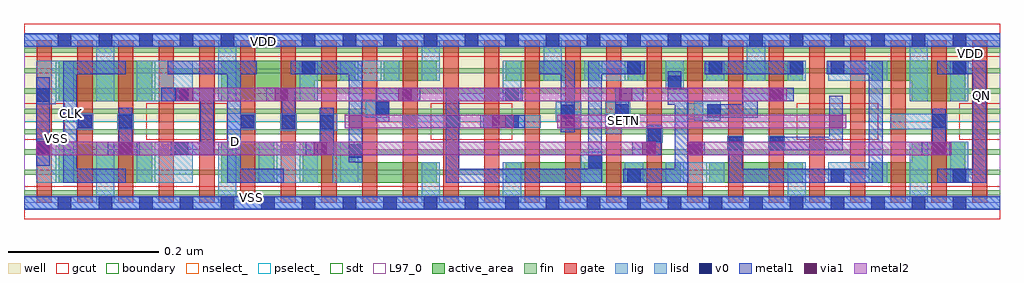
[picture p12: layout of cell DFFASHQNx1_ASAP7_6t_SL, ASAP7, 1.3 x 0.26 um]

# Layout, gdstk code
import gdstk
lib = gdstk.Library(unit=1e-6, precision=2.5e-10)
def R(c, l, rs):  # rectangles x0, y0, x1, y1
    for r in rs: c.add(gdstk.rectangle(r[:2], r[2:], *l))
def A(c, l, x, y, w, h, nx, ny, dx, dy):  # array of equal rectangles
    R(c, l, [(x+i*dx, y+j*dy, x+i*dx+w, y+j*dy+h) for i in range(nx) for j in range(ny)])
def P(c, l, *ps):  # polygons
    for p in ps: c.add(gdstk.Polygon(p, *l))
well = (1, 0)
fin = (2, 0)
gate = (7, 0)
gcut = (10, 0)
active_area = (11, 0)
nselect_ = (12, 0)
pselect_ = (13, 0)
lig = (16, 0)
lisd = (17, 0)
v0 = (18, 0)
metal1 = (19, 0)
metal2 = (20, 0)
via1 = (21, 0)
sdt = (88, 0)
L97_0 = (97, 0)
boundary = (100, 0)

dffashqnx1_asap7_6t_sl = lib.new_cell('DFFASHQNx1_ASAP7_6t_SL')
R(dffashqnx1_asap7_6t_sl, well, [(0,0.108,1.296,0.216)])
A(dffashqnx1_asap7_6t_sl, fin, 0, 0.01, 1.296, 0.007, 1, 8, 0, 0.027)
A(dffashqnx1_asap7_6t_sl, gate, 0.017, 0, 0.02, 0.216, 24, 1, 0.054, 0)
R(dffashqnx1_asap7_6t_sl, gcut, [(0,-0.022,1.296,0.022), (0,0.084,0.054,0.132), (0.162,0.084,0.27,0.132), (0.54,0.084,0.648,0.132), (1.026,0.084,1.134,0.132), (1.242,0.084,1.296,0.132), (0,0.194,1.296,0.238)])
R(dffashqnx1_asap7_6t_sl, active_area, [(0.046,0.027,0.17,0.081), (0.262,0.027,0.332,0.081), (0.64,0.027,0.872,0.054), (0.91,0.027,1.034,0.054), (0.046,0.135,0.17,0.189), (0.478,0.162,0.548,0.189), (0.64,0.162,0.764,0.189), (0.802,0.162,1.034,0.189)])
P(dffashqnx1_asap7_6t_sl, active_area, [(1.25,0.081),(1.179,0.081),(1.179,0.054),(1.126,0.054),(1.126,0.027),(1.25,0.027)],
  [(1.25,0.189),(1.126,0.189),(1.126,0.162),(1.179,0.162),(1.179,0.135),(1.25,0.135)],
  [(0.548,0.054),(0.44,0.054),(0.44,0.081),(0.37,0.081),(0.37,0.027),(0.548,0.027)],
  [(0.44,0.189),(0.262,0.189),(0.262,0.135),(0.386,0.135),(0.386,0.162),(0.44,0.162)])
R(dffashqnx1_asap7_6t_sl, nselect_, [(0,0,1.296,0.108)])
R(dffashqnx1_asap7_6t_sl, pselect_, [(0,0.108,1.296,0.216)])
R(dffashqnx1_asap7_6t_sl, lig, [(0,-0.008,1.296,0.008), (0.934,0.069,0.956,0.089), (0.988,0.069,1.01,0.089), (0.826,0.08,0.848,0.102), (0.772,0.092,0.794,0.118), (0.34,0.096,0.362,0.118), (0.393,0.096,0.416,0.118), (0.07,0.097,0.092,0.119), (0.27,0.097,0.308,0.119), (0.124,0.098,0.146,0.118), (0.718,0.098,0.74,0.121), (1.15,0.098,1.226,0.118), (0.502,0.1,0.579,0.116), (0.61,0.1,0.686,0.116), (0.88,0.111,0.902,0.132), (0.448,0.114,0.47,0.137), (0,0.208,1.296,0.224)])
A(dffashqnx1_asap7_6t_sl, lisd, 0.42, 0.162, 0.078, 0.027, 3, 1, 0.324, 0)
R(dffashqnx1_asap7_6t_sl, lisd, [(0.096,0,0.12,0.081), (0.258,0,0.282,0.081), (0.528,0,0.552,0.054), (0.636,0,0.66,0.054), (1.014,0,1.038,0.054), (1.176,0,1.2,0.081), (0.15,0.027,0.224,0.081), (0.312,0.027,0.39,0.081), (0.41,0.027,0.449,0.081), (0.739,0.027,0.768,0.068), (0.798,0.027,0.822,0.054), (0.852,0.027,0.93,0.054), (1.068,0.027,1.146,0.054), (1.23,0.027,1.254,0.081), (0.706,0.108,0.74,0.134), (0.772,0.108,0.805,0.134), (0.89,0.109,0.925,0.135), (0.454,0.113,0.485,0.137), (0.096,0.135,0.12,0.216), (0.15,0.135,0.224,0.189), (0.258,0.135,0.282,0.216), (0.366,0.135,0.39,0.189), (0.636,0.135,0.66,0.189), (1.176,0.135,1.2,0.216), (1.23,0.135,1.254,0.189), (0.852,0.151,0.876,0.189), (0.528,0.162,0.552,0.216), (0.69,0.162,0.714,0.216), (0.906,0.162,0.93,0.189), (0.96,0.162,0.984,0.216), (1.014,0.162,1.038,0.189)])
P(dffashqnx1_asap7_6t_sl, lisd, [(0.066,0.189),(0.016,0.189),(0.016,0.131),(0.042,0.131),(0.042,0.135),(0.066,0.135)],
  [(0.066,0.081),(0.042,0.081),(0.042,0.085),(0.016,0.085),(0.016,0.027),(0.066,0.027)])
A(dffashqnx1_asap7_6t_sl, v0, 0.045, -0.009, 0.018, 0.018, 23, 2, 0.054, 0.216)
A(dffashqnx1_asap7_6t_sl, v0, 0.801, 0.171, 0.018, 0.018, 3, 1, 0.108, 0)
R(dffashqnx1_asap7_6t_sl, v0, [(0.801,0.027,0.819,0.045), (1.071,0.027,1.089,0.045), (1.233,0.027,1.251,0.045), (0.749,0.045,0.767,0.063), (0.431,0.06,0.449,0.078), (0.2,0.063,0.218,0.081), (0.016,0.064,0.034,0.082), (0.936,0.07,0.954,0.088), (0.99,0.07,1.008,0.088), (0.828,0.081,0.846,0.099), (0.342,0.098,0.36,0.116), (0.393,0.098,0.411,0.116), (0.072,0.099,0.09,0.117), (0.126,0.099,0.144,0.117), (0.288,0.099,0.306,0.117), (0.56,0.099,0.578,0.117), (0.639,0.099,0.657,0.117), (1.206,0.1,1.224,0.118), (0.713,0.112,0.731,0.13), (0.785,0.113,0.803,0.131), (0.907,0.113,0.925,0.131), (0.467,0.116,0.485,0.134), (0.016,0.134,0.034,0.152), (0.2,0.135,0.218,0.153), (0.639,0.135,0.657,0.153), (0.855,0.151,0.873,0.169), (0.369,0.171,0.387,0.189), (1.071,0.171,1.089,0.189), (1.233,0.171,1.251,0.189)])
R(dffashqnx1_asap7_6t_sl, metal1, [(0,-0.009,1.296,0.009), (0.016,0.049,0.034,0.167), (0.606,0.099,0.665,0.117), (0.904,0.171,1.035,0.189), (0,0.207,1.296,0.225)])
P(dffashqnx1_asap7_6t_sl, metal1, [(1.278,0.189),(1.213,0.189),(1.213,0.171),(1.26,0.171),(1.26,0.045),(1.213,0.045),(1.213,0.027),(1.278,0.027)],
  [(1.229,0.081),(1.224,0.081),(1.224,0.125),(1.206,0.125),(1.206,0.081),(1.192,0.081),(1.192,0.063),(1.229,0.063)],
  [(1.14,0.189),(1.066,0.189),(1.066,0.171),(1.122,0.171),(1.122,0.045),(0.954,0.045),(0.954,0.088),(0.936,0.088),(0.936,0.027),(1.14,0.027)],
  [(1.087,0.142),(1.069,0.142),(1.069,0.088),(0.99,0.088),(0.99,0.07),(1.087,0.07)],
  [(1.022,0.153),(0.954,0.153),(0.954,0.131),(0.907,0.131),(0.907,0.113),(0.974,0.113),(0.974,0.135),(1.022,0.135)],
  [(0.904,0.081),(0.882,0.081),(0.882,0.151),(0.873,0.151),(0.873,0.175),(0.855,0.175),(0.855,0.13),(0.864,0.13),(0.864,0.045),(0.796,0.045),(0.796,0.027),(0.882,0.027),(0.882,0.063),(0.904,0.063)],
  [(0.846,0.104),(0.828,0.104),(0.828,0.081),(0.808,0.081),(0.808,0.063),(0.846,0.063)],
  [(0.824,0.189),(0.749,0.189),(0.749,0.045),(0.578,0.045),(0.578,0.135),(0.662,0.135),(0.662,0.153),(0.56,0.153),(0.56,0.027),(0.767,0.027),(0.767,0.171),(0.824,0.171)],
  [(0.822,0.153),(0.785,0.153),(0.785,0.108),(0.803,0.108),(0.803,0.135),(0.822,0.135)],
  [(0.731,0.189),(0.684,0.189),(0.684,0.171),(0.713,0.171),(0.713,0.094),(0.731,0.094)],
  [(0.526,0.153),(0.467,0.153),(0.467,0.108),(0.485,0.108),(0.485,0.135),(0.526,0.135)],
  [(0.449,0.189),(0.354,0.189),(0.354,0.171),(0.431,0.171),(0.431,0.054),(0.449,0.054)],
  [(0.411,0.126),(0.393,0.126),(0.393,0.081),(0.374,0.081),(0.374,0.063),(0.411,0.063)],
  [(0.36,0.153),(0.322,0.153),(0.322,0.135),(0.342,0.135),(0.342,0.098),(0.36,0.098)],
  [(0.345,0.045),(0.288,0.045),(0.288,0.099),(0.306,0.099),(0.306,0.117),(0.288,0.117),(0.288,0.171),(0.309,0.171),(0.309,0.189),(0.191,0.189),(0.191,0.171),(0.27,0.171),(0.27,0.027),(0.345,0.027)],
  [(0.252,0.153),(0.182,0.153),(0.182,0.135),(0.234,0.135),(0.234,0.081),(0.195,0.081),(0.195,0.063),(0.252,0.063)],
  [(0.154,0.081),(0.144,0.081),(0.144,0.126),(0.126,0.126),(0.126,0.081),(0.111,0.081),(0.111,0.063),(0.154,0.063)],
  [(0.135,0.045),(0.07,0.045),(0.07,0.099),(0.09,0.099),(0.09,0.117),(0.07,0.117),(0.07,0.171),(0.135,0.171),(0.135,0.189),(0.052,0.189),(0.052,0.027),(0.135,0.027)])
R(dffashqnx1_asap7_6t_sl, metal2, [(0.016,0.063,0.839,0.081), (0.882,0.063,1.231,0.081), (0.426,0.099,0.65,0.117), (0.708,0.099,1.092,0.117), (0.202,0.135,1.013,0.153)])
R(dffashqnx1_asap7_6t_sl, via1, [(0.016,0.063,0.034,0.081), (0.126,0.063,0.144,0.081), (0.385,0.063,0.403,0.081), (0.821,0.063,0.839,0.081), (0.882,0.063,0.9,0.081), (1.206,0.063,1.224,0.081), (0.431,0.099,0.449,0.117), (0.622,0.099,0.64,0.117), (0.713,0.099,0.731,0.117), (1.069,0.099,1.087,0.117), (0.207,0.135,0.225,0.153), (0.333,0.135,0.351,0.153), (0.497,0.135,0.515,0.153), (0.79,0.135,0.808,0.153), (0.99,0.135,1.008,0.153)])
A(dffashqnx1_asap7_6t_sl, sdt, 0.042, 0.027, 0.024, 0.054, 3, 2, 0.054, 0.108)
A(dffashqnx1_asap7_6t_sl, sdt, 0.258, 0.027, 0.024, 0.054, 4, 1, 0.054, 0)
A(dffashqnx1_asap7_6t_sl, sdt, 0.528, 0.027, 0.024, 0.027, 3, 1, 0.108, 0)
A(dffashqnx1_asap7_6t_sl, sdt, 0.798, 0.027, 0.024, 0.027, 3, 1, 0.054, 0)
A(dffashqnx1_asap7_6t_sl, sdt, 0.42, 0.162, 0.024, 0.027, 3, 1, 0.054, 0)
A(dffashqnx1_asap7_6t_sl, sdt, 0.636, 0.162, 0.024, 0.027, 8, 1, 0.054, 0)
R(dffashqnx1_asap7_6t_sl, sdt, [(1.014,0.027,1.038,0.054), (1.122,0.027,1.146,0.054), (1.176,0.027,1.2,0.081), (1.23,0.027,1.254,0.081), (0.258,0.135,0.282,0.189), (0.366,0.135,0.39,0.189), (1.176,0.135,1.2,0.189), (1.23,0.135,1.254,0.189), (1.122,0.162,1.146,0.189)])
R(dffashqnx1_asap7_6t_sl, L97_0, [(0,0,1.296,0.216)])
R(dffashqnx1_asap7_6t_sl, boundary, [(0,0,1.296,0.216)])
dffashqnx1_asap7_6t_sl.add(gdstk.Label('VDD', (1.257,0.198), layer=1, texttype=251))
dffashqnx1_asap7_6t_sl.add(gdstk.Label('VSS', (0.302,0.007), layer=19, texttype=251))
dffashqnx1_asap7_6t_sl.add(gdstk.Label('VDD', (0.318,0.214), layer=19, texttype=251))
dffashqnx1_asap7_6t_sl.add(gdstk.Label('QN', (1.272,0.143), layer=19, texttype=251))
dffashqnx1_asap7_6t_sl.add(gdstk.Label('D', (0.281,0.082), layer=19, texttype=251))
dffashqnx1_asap7_6t_sl.add(gdstk.Label('CLK', (0.063,0.119), layer=19, texttype=251))
dffashqnx1_asap7_6t_sl.add(gdstk.Label('VSS', (0.043,0.085), layer=3, texttype=251))
dffashqnx1_asap7_6t_sl.add(gdstk.Label('SETN', (0.796,0.109), layer=20, texttype=251))

lib.write_gds('DFFASHQNx1_ASAP7_6t_SL.gds')
